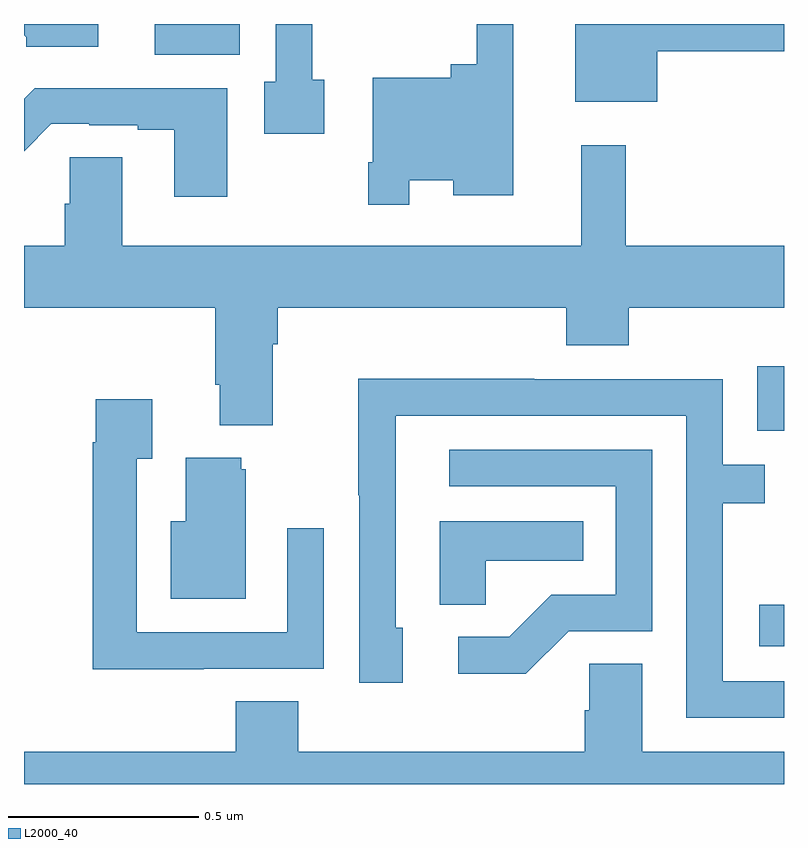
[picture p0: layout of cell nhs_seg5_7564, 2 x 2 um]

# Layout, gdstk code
import gdstk
lib = gdstk.Library(unit=1e-6, precision=1e-09)
def R(c, l, rs):  # rectangles x0, y0, x1, y1
    for r in rs: c.add(gdstk.rectangle(r[:2], r[2:], *l))
def P(c, l, *ps):  # polygons
    for p in ps: c.add(gdstk.Polygon(p, *l))
L2000_40 = (2000, 40)

nhs_seg5_7564 = lib.new_cell('nhs_seg5_7564')
R(nhs_seg5_7564, L2000_40, [(211.935,897.161,212,897.271), (211.929,897.729,212,897.898), (210.344,898.718,210.568,898.799)])
P(nhs_seg5_7564, L2000_40, [(211.014,898.388),(211.13,898.388),(211.13,898.349),(211.288,898.349),(211.288,898.799),(211.191,898.799),(211.191,898.693),(211.123,898.693),(211.123,898.657),(210.918,898.657),(210.918,898.435),(210.906,898.435),(210.906,898.323),(211.014,898.323)],
  [(210.196,898.799),(210,898.799),(210,898.77),(210.006,898.764),(210.006,898.739),(210.196,898.739)],
  [(211.666,898.727),(212,898.727),(212,898.799),(211.451,898.799),(211.451,898.595),(211.666,898.595)],
  [(210.79,898.652),(210.759,898.652),(210.759,898.799),(210.663,898.799),(210.663,898.647),(210.632,898.647),(210.632,898.51),(210.79,898.51)],
  [(210.535,898.63),(210.028,898.63),(210,898.602),(210,898.464),(210.072,898.536),(210.172,898.536),(210.172,898.533),(210.299,898.533),(210.299,898.521),(210.395,898.521),(210.395,898.344),(210.535,898.344)],
  [(210.655,897.956),(210.668,897.956),(210.668,898.052),(211.427,898.052),(211.427,897.953),(211.592,897.953),(211.592,898.052),(212,898.052),(212,898.216),(211.583,898.216),(211.583,898.48),(211.466,898.48),(211.466,898.216),(210.259,898.216),(210.259,898.448),(210.12,898.448),(210.12,898.326),(210.107,898.326),(210.107,898.216),(210,898.216),(210,898.052),(210.503,898.052),(210.503,897.85),(210.515,897.85),(210.515,897.743),(210.655,897.743)],
  [(212,897.069),(211.839,897.069),(211.839,897.538),(211.949,897.538),(211.949,897.639),(211.839,897.639),(211.839,897.864),(211.343,897.864),(211.343,897.866),(210.88,897.866),(210.88,897.559),(210.882,897.559),(210.882,897.066),(210.997,897.066),(210.997,897.21),(210.978,897.21),(210.978,897.768),(211.743,897.768),(211.743,896.973),(212,896.973)],
  [(210.473,897.102),(210.789,897.102),(210.789,897.472),(210.693,897.472),(210.693,897.198),(210.297,897.198),(210.297,897.655),(210.337,897.655),(210.337,897.811),(210.189,897.811),(210.189,897.698),(210.181,897.698),(210.181,897.101),(210.473,897.101)],
  [(211.434,897.201),(211.653,897.201),(211.653,897.678),(211.119,897.678),(211.119,897.582),(211.557,897.582),(211.557,897.297),(211.388,897.297),(211.277,897.186),(211.143,897.186),(211.143,897.089),(211.321,897.089)],
  [(210.583,897.627),(210.572,897.627),(210.572,897.658),(210.425,897.658),(210.425,897.49),(210.386,897.49),(210.386,897.287),(210.583,897.287)],
  [(211.215,897.386),(211.472,897.386),(211.472,897.49),(211.094,897.49),(211.094,897.271),(211.215,897.271)],
  [(212,896.884),(211.627,896.884),(211.627,897.116),(211.488,897.116),(211.488,896.993),(211.475,896.993),(211.475,896.884),(210.722,896.884),(210.722,897.017),(210.557,897.017),(210.557,896.884),(210,896.884),(210,896.799),(212,896.799)])

lib.write_gds('nhs_seg5_7564.gds')
